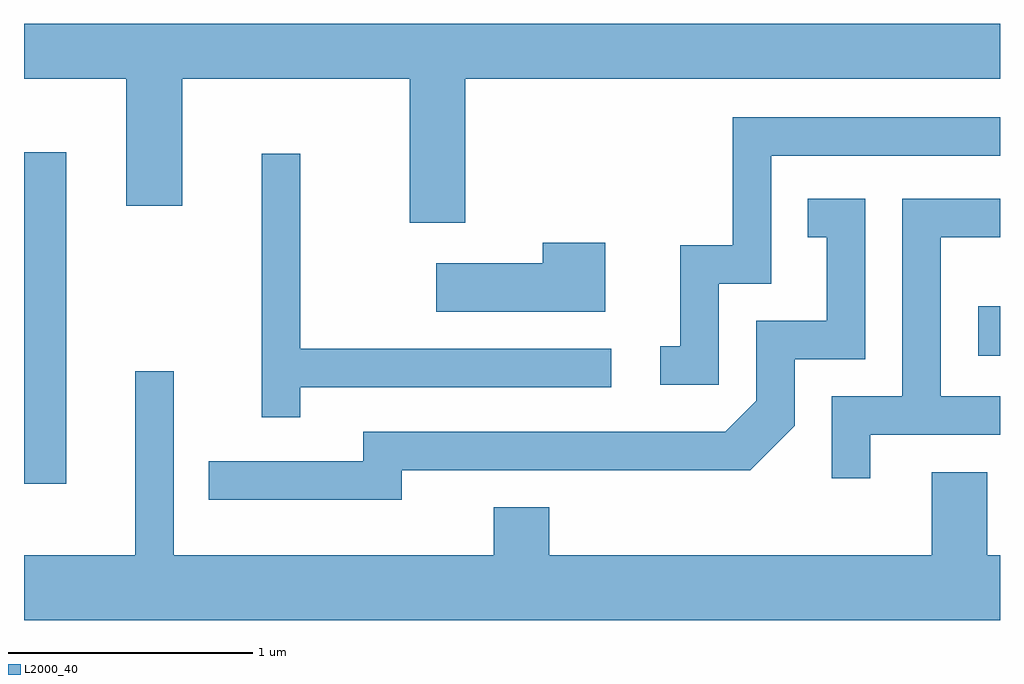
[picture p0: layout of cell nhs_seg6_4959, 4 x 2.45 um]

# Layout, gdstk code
import gdstk
lib = gdstk.Library(unit=1e-6, precision=1e-09)
def R(c, l, rs):  # rectangles x0, y0, x1, y1
    for r in rs: c.add(gdstk.rectangle(r[:2], r[2:], *l))
def P(c, l, *ps):  # polygons
    for p in ps: c.add(gdstk.Polygon(p, *l))
L2000_40 = (2000, 40)

nhs_seg6_4959 = lib.new_cell('nhs_seg6_4959')
R(nhs_seg6_4959, L2000_40, [(335.611,1648.276,335.784,1649.634), (339.521,1648.801,339.611,1649.004)])
P(nhs_seg6_4959, L2000_40, [(335.611,1649.936),(336.031,1649.936),(336.031,1649.416),(336.259,1649.416),(336.259,1649.936),(337.191,1649.936),(337.191,1649.346),(337.419,1649.346),(337.419,1649.936),(339.611,1649.936),(339.611,1650.162),(335.611,1650.162)],
  [(338.459,1649.096),(338.674,1649.096),(338.674,1649.621),(339.611,1649.621),(339.611,1649.779),(338.516,1649.779),(338.516,1649.254),(338.301,1649.254),(338.301,1648.839),(338.218,1648.839),(338.218,1648.681),(338.459,1648.681)],
  [(336.744,1648.671),(338.018,1648.671),(338.018,1648.829),(336.744,1648.829),(336.744,1649.628),(336.586,1649.628),(336.586,1648.548),(336.744,1648.548)],
  [(337.159,1648.331),(338.587,1648.331),(338.769,1648.514),(338.769,1648.786),(339.059,1648.786),(339.059,1649.444),(338.823,1649.444),(338.823,1649.286),(338.901,1649.286),(338.901,1648.944),(338.611,1648.944),(338.611,1648.617),(338.484,1648.489),(337.001,1648.489),(337.001,1648.369),(336.368,1648.369),(336.368,1648.211),(337.159,1648.211)],
  [(339.079,1648.476),(339.611,1648.476),(339.611,1648.634),(339.369,1648.634),(339.369,1649.286),(339.611,1649.286),(339.611,1649.444),(339.211,1649.444),(339.211,1648.634),(338.921,1648.634),(338.921,1648.298),(339.079,1648.298)],
  [(337.994,1649.264),(337.736,1649.264),(337.736,1649.179),(337.301,1649.179),(337.301,1648.981),(337.994,1648.981)],
  [(339.611,1647.984),(339.559,1647.984),(339.559,1648.324),(339.331,1648.324),(339.331,1647.984),(337.764,1647.984),(337.764,1648.179),(337.536,1648.179),(337.536,1647.984),(336.224,1647.984),(336.224,1648.738),(336.066,1648.738),(336.066,1647.984),(335.611,1647.984),(335.611,1647.716),(339.611,1647.716)])

lib.write_gds('nhs_seg6_4959.gds')
